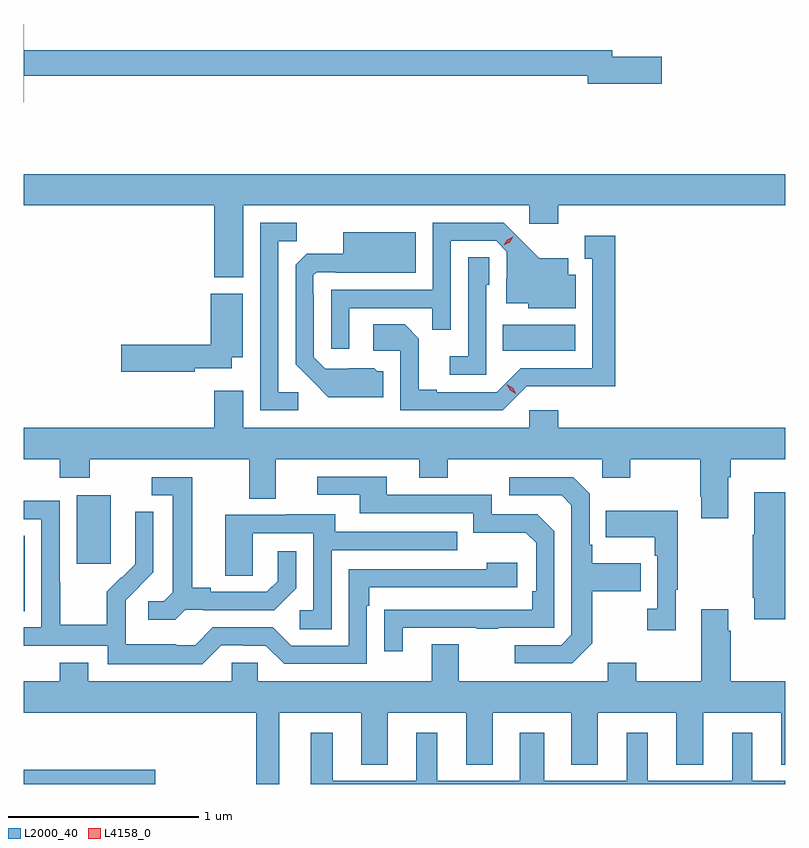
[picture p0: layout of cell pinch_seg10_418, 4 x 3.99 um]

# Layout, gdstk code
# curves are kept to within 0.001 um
import gdstk
lib = gdstk.Library(unit=1e-6, precision=1e-09)
def R(c, l, rs):  # rectangles x0, y0, x1, y1
    for r in rs: c.add(gdstk.rectangle(r[:2], r[2:], *l))
def P(c, l, *ps):  # polygons
    for p in ps: c.add(gdstk.Polygon(p, *l))
L2000_40 = (2000, 40)
L4158_0 = (4158, 0)

pinch_seg10_418 = lib.new_cell('pinch_seg10_418')
R(pinch_seg10_418, L2000_40, [(358.407,1294.613,359.099,1294.687), (358.407,1295.521,358.411,1295.918), (358.685,1295.769,358.864,1296.13), (360.922,1296.89,361.303,1297.024)])
P(pinch_seg10_418, L2000_40, [(358.408,1298.332),(361.37,1298.332),(361.37,1298.29),(361.759,1298.29),(361.759,1298.432),(361.498,1298.432),(361.498,1298.468),(358.408,1298.468),(358.408,1298.605),(358.407,1298.605),(358.407,1298.195),(358.408,1298.195)],
  [(359.56,1297.652),(361.062,1297.652),(361.062,1297.557),(361.214,1297.557),(361.214,1297.652),(362.407,1297.652),(362.407,1297.816),(358.407,1297.816),(358.407,1297.652),(359.408,1297.652),(359.408,1297.274),(359.56,1297.274)],
  [(359.848,1296.672),(359.745,1296.672),(359.745,1297.465),(359.841,1297.465),(359.841,1297.56),(359.649,1297.56),(359.649,1296.576),(359.848,1296.576)],
  [(360.117,1297.113),(360.553,1297.113),(360.553,1297),(360.651,1297),(360.651,1297.467),(360.888,1297.467),(360.945,1297.41),(360.945,1297.268),(360.941,1297.268),(360.941,1297.139),(361.056,1297.139),(361.056,1297.112),(361.306,1297.112),(361.306,1297.288),(361.267,1297.288),(361.267,1297.375),(361.115,1297.375),(360.928,1297.56),(360.555,1297.56),(360.555,1297.209),(360.021,1297.209),(360.021,1296.9),(360.117,1296.9)],
  [(360.295,1296.78),(360.264,1296.78),(360.248,1296.796),(359.991,1296.795),(359.931,1296.855),(359.931,1297.184),(359.928,1297.184),(359.928,1297.284),(359.946,1297.302),(360.046,1297.302),(360.046,1297.298),(360.466,1297.298),(360.466,1297.51),(360.086,1297.51),(360.086,1297.399),(359.894,1297.399),(359.835,1297.34),(359.835,1296.818),(360.007,1296.644),(360.295,1296.644)],
  [(361.05,1296.702),(361.513,1296.701),(361.513,1297.492),(361.355,1297.492),(361.355,1297.371),(361.394,1297.371),(361.394,1296.798),(361.017,1296.798),(360.891,1296.672),(360.577,1296.672),(360.577,1296.685),(360.483,1296.685),(360.483,1296.952),(360.407,1297.028),(360.243,1297.028),(360.243,1296.888),(360.384,1296.888),(360.384,1296.576),(360.924,1296.576)],
  [(360.837,1297.236),(360.852,1297.236),(360.852,1297.379),(360.741,1297.379),(360.741,1296.859),(360.645,1296.859),(360.645,1296.762),(360.837,1296.762)],
  [(359.304,1296.797),(359.5,1296.797),(359.5,1296.854),(359.557,1296.854),(359.557,1297.189),(359.39,1297.189),(359.39,1296.92),(358.92,1296.92),(358.92,1296.778),(359.304,1296.778)],
  [(362.107,1296.224),(362.12,1296.224),(362.12,1296.32),(362.407,1296.32),(362.407,1296.484),(361.214,1296.484),(361.214,1296.577),(361.062,1296.577),(361.062,1296.484),(359.56,1296.484),(359.56,1296.679),(359.408,1296.679),(359.408,1296.484),(358.407,1296.484),(358.407,1296.32),(358.595,1296.32),(358.595,1296.221),(358.755,1296.221),(358.755,1296.32),(359.591,1296.32),(359.591,1296.112),(359.731,1296.112),(359.731,1296.32),(360.485,1296.32),(360.485,1296.221),(360.633,1296.221),(360.633,1296.32),(361.446,1296.32),(361.446,1296.221),(361.593,1296.221),(361.593,1296.32),(361.96,1296.32),(361.96,1296.121),(361.967,1296.121),(361.967,1296.009),(362.107,1296.009)],
  [(360.397,1295.433),(360.787,1295.433),(360.787,1295.428),(360.899,1295.428),(360.899,1295.433),(361.194,1295.433),(361.194,1295.94),(361.104,1296.03),(360.864,1296.03),(360.864,1296.132),(360.313,1296.132),(360.313,1296.228),(359.949,1296.228),(359.949,1296.132),(360.173,1296.132),(360.173,1296.036),(360.768,1296.036),(360.768,1295.933),(361.045,1295.933),(361.098,1295.88),(361.098,1295.626),(361.078,1295.626),(361.078,1295.529),(360.301,1295.528),(360.301,1295.31),(360.397,1295.31)],
  [(359.256,1295.529),(359.35,1295.529),(359.35,1295.526),(359.722,1295.526),(359.838,1295.642),(359.838,1295.836),(359.741,1295.836),(359.741,1295.679),(359.684,1295.622),(359.389,1295.622),(359.389,1295.645),(359.293,1295.645),(359.293,1296.225),(359.079,1296.225),(359.079,1296.129),(359.189,1296.129),(359.189,1295.621),(359.142,1295.574),(359.061,1295.574),(359.061,1295.477),(359.204,1295.477)],
  [(361.393,1295.353),(361.393,1295.626),(361.649,1295.626),(361.649,1295.773),(361.393,1295.773),(361.393,1295.869),(361.38,1295.869),(361.38,1296.138),(361.293,1296.225),(360.957,1296.225),(360.957,1296.129),(361.233,1296.129),(361.284,1296.078),(361.284,1295.397),(361.23,1295.343),(360.987,1295.343),(360.987,1295.247),(361.287,1295.247)],
  [(362.407,1296.145),(362.243,1296.145),(362.243,1295.921),(362.236,1295.921),(362.236,1295.59),(362.243,1295.59),(362.243,1295.478),(362.407,1295.478)],
  [(359.445,1295.343),(359.561,1295.343),(359.561,1295.34),(359.679,1295.34),(359.775,1295.244),(360.21,1295.244),(360.21,1295.549),(360.223,1295.549),(360.223,1295.646),(361,1295.646),(361,1295.776),(360.839,1295.776),(360.839,1295.742),(360.114,1295.742),(360.114,1295.34),(359.811,1295.34),(359.715,1295.436),(359.4,1295.436),(359.307,1295.343),(359.207,1295.343),(359.207,1295.347),(358.944,1295.347),(358.944,1295.481),(358.942,1295.481),(358.942,1295.578),(359.088,1295.726),(359.088,1296.044),(358.992,1296.044),(358.992,1295.89),(358.994,1295.89),(358.994,1295.768),(358.923,1295.697),(358.92,1295.7),(358.843,1295.623),(358.843,1295.449),(358.599,1295.449),(358.599,1295.672),(358.596,1295.672),(358.596,1296.102),(358.407,1296.102),(358.407,1296.003),(358.5,1296.003),(358.5,1295.436),(358.407,1295.436),(358.407,1295.34),(358.848,1295.34),(358.848,1295.243),(359.345,1295.243)],
  [(361.831,1295.633),(361.843,1295.633),(361.843,1296.049),(361.465,1296.049),(361.465,1295.909),(361.722,1295.909),(361.722,1295.813),(361.734,1295.813),(361.734,1295.534),(361.683,1295.534),(361.683,1295.421),(361.831,1295.421)],
  [(360.024,1295.841),(360.683,1295.841),(360.683,1295.937),(360.043,1295.937),(360.043,1296.031),(359.789,1296.031),(359.789,1296.027),(359.465,1296.027),(359.465,1295.707),(359.61,1295.707),(359.61,1295.931),(359.928,1295.931),(359.928,1295.526),(359.856,1295.526),(359.856,1295.425),(360.024,1295.425)],
  [(359.749,1294.988),(360.179,1294.988),(360.179,1294.715),(360.319,1294.715),(360.319,1294.988),(360.731,1294.988),(360.731,1294.715),(360.871,1294.715),(360.871,1294.988),(361.283,1294.988),(361.283,1294.715),(361.423,1294.715),(361.423,1294.988),(361.835,1294.988),(361.835,1294.715),(361.975,1294.715),(361.975,1294.988),(362.387,1294.988),(362.387,1294.715),(362.407,1294.715),(362.407,1295.152),(362.12,1295.152),(362.12,1295.417),(362.107,1295.417),(362.107,1295.53),(361.967,1295.53),(361.967,1295.152),(361.623,1295.152),(361.623,1295.251),(361.475,1295.251),(361.475,1295.152),(360.691,1295.152),(360.691,1295.347),(360.551,1295.347),(360.551,1295.152),(359.637,1295.152),(359.637,1295.25),(359.499,1295.25),(359.499,1295.152),(358.747,1295.152),(358.747,1295.251),(358.595,1295.251),(358.595,1295.152),(358.407,1295.152),(358.407,1294.988),(359.628,1294.988),(359.628,1294.613),(359.749,1294.613)],
  [(362.407,1294.63),(362.233,1294.63),(362.233,1294.882),(362.129,1294.882),(362.129,1294.63),(361.684,1294.63),(361.684,1294.882),(361.574,1294.882),(361.574,1294.63),(361.141,1294.63),(361.141,1294.882),(361.013,1294.882),(361.013,1294.63),(360.58,1294.63),(360.58,1294.882),(360.47,1294.882),(360.47,1294.63),(360.031,1294.63),(360.031,1294.882),(359.915,1294.882),(359.915,1294.613),(362.407,1294.613)])
P(pinch_seg10_418, L4158_0, [(360.993,1296.66),(360.962,1296.68),(360.945,1296.713),(360.945,1296.713),(360.945,1296.713),(360.977,1296.693),(360.994,1296.66),(360.994,1296.66)],
  [(360.928,1297.444),(360.928,1297.444),(360.946,1297.473),(360.977,1297.487),(360.977,1297.487),(360.977,1297.487),(360.959,1297.458),(360.928,1297.444)])

lib.write_gds('pinch_seg10_418.gds')
